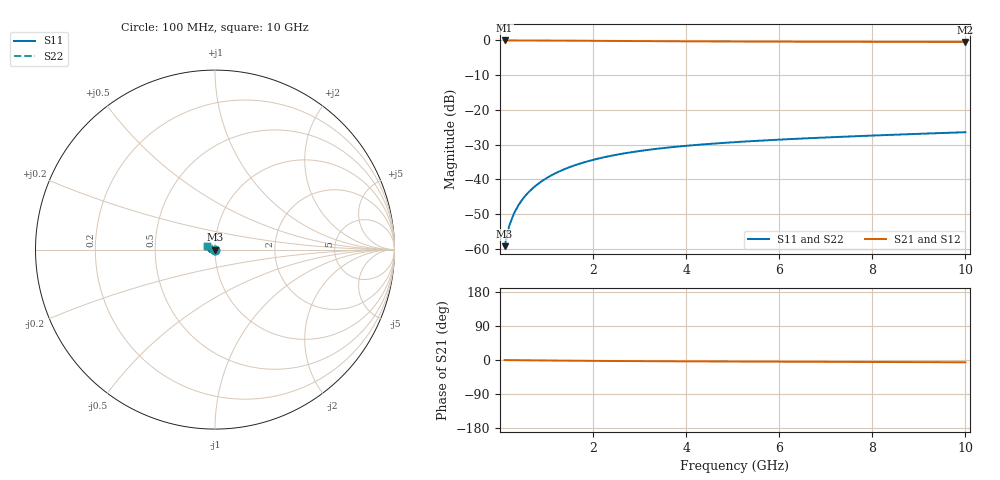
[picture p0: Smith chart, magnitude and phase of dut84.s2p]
! Touchstone file exported from HFSS 2024.1.0
!  File:  C:/UserFiles/LocalFiles/RDL_TSV_Batchsim/temp_TSV1_84_1779375359.aedt
!  Generated:  11:03:46 PM May 21, 2026
!  Design:  TSV1
!  Project:  temp_TSV1_84_1779375359
!  Setup:  Setup1
!  Solution:  Sweep
! Variables:
!  dtsv = 8.3um
!  hbump = 3um
!  htsv = 92.57um
!  lrdl = 252.1521522um
!  p = 40
!  p1 = 55.11um
!  t = 500um
!  trdl = 3um
!  wrdl = 24.89489489um
# GHz S MA R 50.000000
! Terminal data exported
! Port[1] = TSV22_T1
! Port[2] = TSV22_T2
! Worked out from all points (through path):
!   100 points, 100 MHz to 10 GHz, reference 50 ohm
!   highest |S21| = 0.00 dB at 100 MHz (marker M1); lowest = -0.4 dB at 10 GHz (marker M2)
!   lowest |S11| = -59.3 dB at 100 MHz (marker M3), VSWR 1.00, Z = 50 - j0.107 ohm
!   |S11| at or under -10 dB: start of sweep to end of sweep
!   |S22| runs from -59.3 to -26.4 dB; largest |S21 - S12| = 5.3e-15
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0.1  0.001086 -79.9  0.9997 -0.1  0.9997 -0.1  0.001086 -79.9
! Gamma 0 0 0 0
! Port Impedance 50 0 50 0
0.2  0.002143 -87.8  0.9996 -0.3  0.9996 -0.3  0.002143 -87.8
0.3  0.003206 -91.9  0.9994 -0.4  0.9994 -0.4  0.003206 -91.9
0.4  0.004264 -95.0  0.9991 -0.5  0.9991 -0.5  0.004264 -95.0
0.5  0.005315 -97.7  0.9988 -0.7  0.9988 -0.7  0.005315 -97.7
0.6  0.006355 -100.1  0.9983 -0.8  0.9983 -0.8  0.006355 -100.1
0.7  0.007382 -102.5  0.9979 -0.9  0.9979 -0.9  0.007382 -102.5
0.8  0.008395 -104.7  0.9973 -1.0  0.9973 -1.0  0.008395 -104.7
0.9  0.009392 -106.9  0.9967 -1.2  0.9967 -1.2  0.009392 -106.9
1.1  0.01133 -111.0  0.9954 -1.4  0.9954 -1.4  0.01133 -111.0
1.4  0.01409 -117.0  0.993 -1.7  0.993 -1.7  0.01409 -117.0
1.6  0.01582 -120.7  0.9913 -1.9  0.9913 -1.9  0.01582 -120.7
1.8  0.01747 -124.4  0.9896 -2.1  0.9896 -2.1  0.01747 -124.4
2.1  0.01976 -129.6  0.9868 -2.4  0.9868 -2.4  0.01976 -129.6
2.5  0.02251 -136.0  0.9832 -2.7  0.9832 -2.7  0.02251 -136.0
2.9  0.02495 -142.0  0.9797 -2.9  0.9797 -2.9  0.02495 -142.0
3.4  0.0276 -148.9  0.9756 -3.2  0.9756 -3.2  0.0276 -148.9
4.2  0.03114 -158.5  0.9701 -3.6  0.9701 -3.6  0.03114 -158.5
5.1  0.03441 -167.9  0.9651 -4.0  0.9651 -4.0  0.03441 -167.9
6.7  0.03919 178.5  0.9588 -4.7  0.9588 -4.7  0.03919 178.5
8.4  0.04362 166.9  0.9544 -5.4  0.9544 -5.4  0.04362 166.9
10  0.04762 158.0  0.9516 -6.0  0.9516 -6.0  0.04762 158.0
